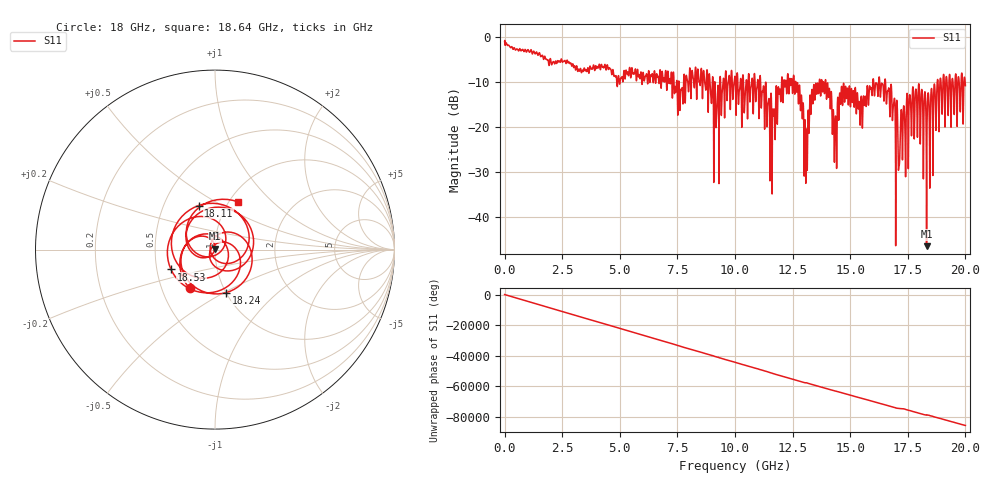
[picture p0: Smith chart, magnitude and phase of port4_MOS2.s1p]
! MS46122B
! 2250307/22442219
! 6/14/2025 10:22:54 AM
! C:\USERS\SPARKY\DOCUMENTS\VNA_DATA\JUNE14_2025\295K\PORT4_MOS2.S1P
! CHANNEL.1
! TR.MEASUREMENT
! RAW.DATA
# GHZ S RI R 50.0
! FREQ.GHZ  S11RE  S11IM
!; PortSelection: Port_1
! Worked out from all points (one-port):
!   10001 points, 1 MHz to 20 GHz, reference 50 ohm
!   lowest |S11| = -46.5 dB at 18.31 GHz (marker M1), VSWR 1.01, Z = 49.9 + j0.467 ohm
!   |S11| at or under -10 dB: 12.64 GHz to 13.66 GHz (1.016 GHz wide, 7.73 % of centre); 13.94 GHz to 15.98 GHz (2.041 GHz wide, 13.6 % of centre); 16.53 GHz to 18.78 GHz (2.244 GHz wide, 12.7 % of centre) (the widest 3 of 69)
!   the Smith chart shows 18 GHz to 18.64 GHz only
!   S11 on the Smith chart (normalised r, x): 18 GHz: 0.69, -0.32; 18.11 GHz: 0.74, +0.39; 18.24 GHz: 1.00, -0.51; 18.53 GHz: 0.59, -0.14; 18.64 GHz: 1.09, +0.64
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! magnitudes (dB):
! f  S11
! 1 MHz  -1.0
! 2.501 GHz  -5.4
! 5.001 GHz  -10.3
! 7.501 GHz  -13.1
! 8.713 GHz  -10.8
! 9.235 GHz  -13.4
! 10 GHz  -8.7
! 11.16 GHz  -13.4
! 11.6 GHz  -19.8
! 12.5 GHz  -12.5
! 12.88 GHz  -13.0
! 13.07 GHz  -32.4
! 13.59 GHz  -10.2
! 14.1 GHz  -11.4
! 14.32 GHz  -25.0
! 14.63 GHz  -11.0
! 15 GHz  -14.6
! 16.45 GHz  -12.5
! 16.85 GHz  -17.0
! 17.07 GHz  -21.1
! 17.5 GHz  -16.4
! 18 GHz  -11.8
! 18.11 GHz  -11.6
! 18.24 GHz  -12.1
! 18.31 GHz  -46.5
! 18.53 GHz  -11.4
! 18.64 GHz  -10.6
! 20 GHz  -10.8
